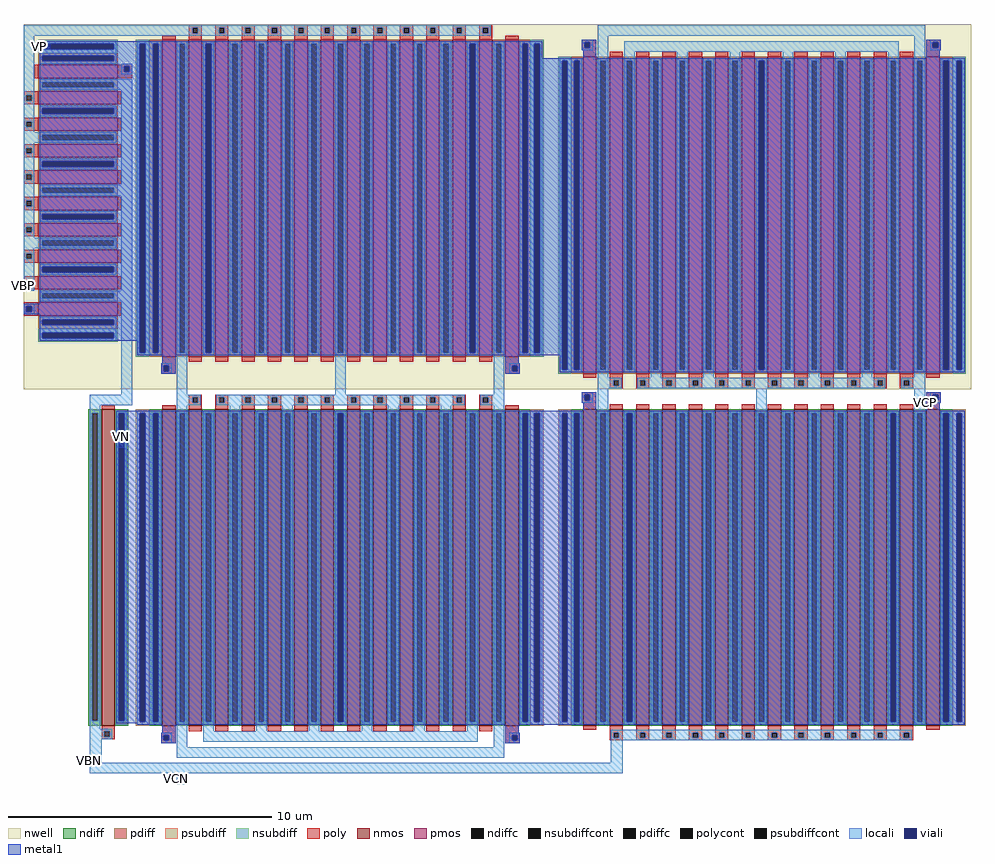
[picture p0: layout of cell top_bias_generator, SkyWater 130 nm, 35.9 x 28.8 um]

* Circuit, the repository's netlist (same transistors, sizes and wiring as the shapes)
* NGSPICE file created from top_bias_generator.ext - technology: sky130A

.subckt bias_generator VP VN VBP VBN VCN VCP
X0 VN VN VCP VN sky130_fd_pr__nfet_01v8 ad=6 pd=25 as=3 ps=12.5 w=12 l=0.5
X1 a_2550_n5150# a_2550_n5150# a_2450_n5110# VN sky130_fd_pr__nfet_01v8 ad=3 pd=12.5 as=3 ps=12.5 w=12 l=0.5
X2 VN VN VCN VN sky130_fd_pr__nfet_01v8 ad=5.4 pd=24.9 as=3 ps=12.5 w=12 l=0.5
X3 a_7040_n5110# VBN a_6840_n5110# VN sky130_fd_pr__nfet_01v8 ad=3 pd=12.5 as=3 ps=12.5 w=12 l=0.5
X4 VBP VBP VP VP sky130_fd_pr__pfet_01v8 ad=0.75 pd=3.5 as=0.75 ps=3.5 w=3 l=0.5
X5 a_5640_n2240# a_5740_n2350# a_5740_n2350# VP sky130_fd_pr__pfet_01v8 ad=3 pd=12.5 as=3 ps=12.5 w=12 l=0.5
X6 a_2450_n5110# a_2550_n5150# a_2550_n5150# VN sky130_fd_pr__nfet_01v8 ad=3 pd=12.5 as=3 ps=12.5 w=12 l=0.5
X7 a_6040_n5110# VBN a_5840_n5110# VN sky130_fd_pr__nfet_01v8 ad=3 pd=12.5 as=3 ps=12.5 w=12 l=0.5
X8 VBP VBP VP VP sky130_fd_pr__pfet_01v8 ad=0.75 pd=3.5 as=0.75 ps=3.5 w=3 l=0.5
X9 a_5640_n2240# VCP VCP VP sky130_fd_pr__pfet_01v8 ad=3 pd=12.5 as=3 ps=12.5 w=12 l=0.5
X10 VP a_5740_n2350# a_5640_n2240# VP sky130_fd_pr__pfet_01v8 ad=3 pd=12.5 as=3 ps=12.5 w=12 l=0.5
X11 a_3650_n2110# VBP a_2550_n5150# VP sky130_fd_pr__pfet_01v8 ad=3 pd=12.5 as=3 ps=12.5 w=12 l=0.5
X12 VCN VBP VP VP sky130_fd_pr__pfet_01v8 ad=3 pd=12.5 as=3 ps=12.5 w=12 l=0.5
X13 a_2650_n2110# VBP VP VP sky130_fd_pr__pfet_01v8 ad=3 pd=12.5 as=3 ps=12.5 w=12 l=0.5
X14 VCN VCN a_2450_n5110# VN sky130_fd_pr__nfet_01v8 ad=3 pd=12.5 as=3 ps=12.5 w=12 l=0.5
X15 VCP VBN VN VN sky130_fd_pr__nfet_01v8 ad=3 pd=12.5 as=3 ps=12.5 w=12 l=0.5
X16 VN VBN VBN VN sky130_fd_pr__nfet_01v8 ad=6 pd=25 as=6 ps=25 w=12 l=0.5
X17 a_2450_n5110# a_2550_n5150# VN VN sky130_fd_pr__nfet_01v8 ad=3 pd=12.5 as=3 ps=12.5 w=12 l=0.5
X18 a_6840_n5110# VBN a_5740_n2350# VN sky130_fd_pr__nfet_01v8 ad=3 pd=12.5 as=3 ps=12.5 w=12 l=0.5
X19 a_5640_n2240# a_5740_n2350# a_5740_n2350# VP sky130_fd_pr__pfet_01v8 ad=3 pd=12.5 as=3 ps=12.5 w=12 l=0.5
X20 a_5740_n2350# a_5740_n2350# a_5640_n2240# VP sky130_fd_pr__pfet_01v8 ad=3 pd=12.5 as=3 ps=12.5 w=12 l=0.5
X21 a_2550_n5150# a_2550_n5150# a_2450_n5110# VN sky130_fd_pr__nfet_01v8 ad=3 pd=12.5 as=3 ps=12.5 w=12 l=0.5
X22 a_5840_n5110# VBN VN VN sky130_fd_pr__nfet_01v8 ad=3 pd=12.5 as=3 ps=12.5 w=12 l=0.5
X23 VBN VBP VP VP sky130_fd_pr__pfet_01v8 ad=0.75 pd=3.5 as=0.75 ps=3.5 w=3 l=0.5
X24 VP VBP a_4250_n2110# VP sky130_fd_pr__pfet_01v8 ad=3 pd=12.5 as=3 ps=12.5 w=12 l=0.5
X25 VCP VP VP VP sky130_fd_pr__pfet_01v8 ad=3 pd=12.5 as=5.4 ps=24.9 w=12 l=0.5
X26 a_2550_n5150# VBP a_3250_n2110# VP sky130_fd_pr__pfet_01v8 ad=3 pd=12.5 as=3 ps=12.5 w=12 l=0.5
X27 VP VBP VCN VP sky130_fd_pr__pfet_01v8 ad=3 pd=12.5 as=3 ps=12.5 w=12 l=0.5
X28 a_2450_n5110# a_2550_n5150# a_2550_n5150# VN sky130_fd_pr__nfet_01v8 ad=3 pd=12.5 as=3 ps=12.5 w=12 l=0.5
X29 VN VBN a_7440_n5110# VN sky130_fd_pr__nfet_01v8 ad=3 pd=12.5 as=3 ps=12.5 w=12 l=0.5
X30 VN a_2550_n5150# a_2450_n5110# VN sky130_fd_pr__nfet_01v8 ad=3 pd=12.5 as=3 ps=12.5 w=12 l=0.5
X31 VN VBN VCP VN sky130_fd_pr__nfet_01v8 ad=3 pd=12.5 as=3 ps=12.5 w=12 l=0.5
X32 a_5740_n2350# VBN a_6440_n5110# VN sky130_fd_pr__nfet_01v8 ad=3 pd=12.5 as=3 ps=12.5 w=12 l=0.5
X33 VP VBP VBN VP sky130_fd_pr__pfet_01v8 ad=0.75 pd=3.5 as=0.75 ps=3.5 w=3 l=0.5
X34 a_5740_n2350# a_5740_n2350# a_5640_n2240# VP sky130_fd_pr__pfet_01v8 ad=3 pd=12.5 as=3 ps=12.5 w=12 l=0.5
X35 a_5640_n2240# a_5740_n2350# a_5740_n2350# VP sky130_fd_pr__pfet_01v8 ad=3 pd=12.5 as=3 ps=12.5 w=12 l=0.5
X36 a_2450_n5110# VCN VCN VN sky130_fd_pr__nfet_01v8 ad=3 pd=12.5 as=3 ps=12.5 w=12 l=0.5
X37 VP VBP VBN VP sky130_fd_pr__pfet_01v8 ad=0.75 pd=3.5 as=0.75 ps=3.5 w=3 l=0.5
X38 a_4250_n2110# VBP a_4050_n2110# VP sky130_fd_pr__pfet_01v8 ad=3 pd=12.5 as=3 ps=12.5 w=12 l=0.5
X39 a_3250_n2110# VBP a_3050_n2110# VP sky130_fd_pr__pfet_01v8 ad=3 pd=12.5 as=3 ps=12.5 w=12 l=0.5
X40 VCN VP VP VP sky130_fd_pr__pfet_01v8 ad=3 pd=12.5 as=6 ps=25 w=12 l=0.5
X41 a_2550_n5150# a_2550_n5150# a_2450_n5110# VN sky130_fd_pr__nfet_01v8 ad=3 pd=12.5 as=3 ps=12.5 w=12 l=0.5
X42 a_7440_n5110# VBN a_7240_n5110# VN sky130_fd_pr__nfet_01v8 ad=3 pd=12.5 as=3 ps=12.5 w=12 l=0.5
X43 VP VP VBN VP sky130_fd_pr__pfet_01v8 ad=1.35 pd=6.9 as=0.75 ps=3.5 w=3 l=0.5
X44 a_2450_n5110# a_2550_n5150# a_2550_n5150# VN sky130_fd_pr__nfet_01v8 ad=3 pd=12.5 as=3 ps=12.5 w=12 l=0.5
X45 VCP VN VN VN sky130_fd_pr__nfet_01v8 ad=3 pd=12.5 as=5.4 ps=24.9 w=12 l=0.5
X46 a_6440_n5110# VBN a_6240_n5110# VN sky130_fd_pr__nfet_01v8 ad=3 pd=12.5 as=3 ps=12.5 w=12 l=0.5
X47 VCN VN VN VN sky130_fd_pr__nfet_01v8 ad=3 pd=12.5 as=6 ps=25 w=12 l=0.5
X48 VP VBP VBP VP sky130_fd_pr__pfet_01v8 ad=0.75 pd=3.5 as=0.75 ps=3.5 w=3 l=0.5
X49 VP VBP VBP VP sky130_fd_pr__pfet_01v8 ad=0.75 pd=3.5 as=0.75 ps=3.5 w=3 l=0.5
X50 VP VP VCP VP sky130_fd_pr__pfet_01v8 ad=6 pd=25 as=3 ps=12.5 w=12 l=0.5
X51 a_5740_n2350# a_5740_n2350# a_5640_n2240# VP sky130_fd_pr__pfet_01v8 ad=3 pd=12.5 as=3 ps=12.5 w=12 l=0.5
X52 a_5640_n2240# a_5740_n2350# a_5740_n2350# VP sky130_fd_pr__pfet_01v8 ad=3 pd=12.5 as=3 ps=12.5 w=12 l=0.5
X53 a_6240_n5110# VBN a_6040_n5110# VN sky130_fd_pr__nfet_01v8 ad=3 pd=12.5 as=3 ps=12.5 w=12 l=0.5
X54 a_7240_n5110# VBN a_7040_n5110# VN sky130_fd_pr__nfet_01v8 ad=3 pd=12.5 as=3 ps=12.5 w=12 l=0.5
X55 a_3050_n2110# VBP a_2850_n2110# VP sky130_fd_pr__pfet_01v8 ad=3 pd=12.5 as=3 ps=12.5 w=12 l=0.5
X56 a_4050_n2110# VBP a_3850_n2110# VP sky130_fd_pr__pfet_01v8 ad=3 pd=12.5 as=3 ps=12.5 w=12 l=0.5
X57 VBN VBP VP VP sky130_fd_pr__pfet_01v8 ad=0.75 pd=3.5 as=0.75 ps=3.5 w=3 l=0.5
X58 VBN VP VP VP sky130_fd_pr__pfet_01v8 ad=0.75 pd=3.5 as=1.5 ps=7 w=3 l=0.5
X59 VCP VCP a_5640_n2240# VP sky130_fd_pr__pfet_01v8 ad=3 pd=12.5 as=3 ps=12.5 w=12 l=0.5
X60 a_2550_n5150# a_2550_n5150# a_2450_n5110# VN sky130_fd_pr__nfet_01v8 ad=3 pd=12.5 as=3 ps=12.5 w=12 l=0.5
X61 a_2450_n5110# a_2550_n5150# a_2550_n5150# VN sky130_fd_pr__nfet_01v8 ad=3 pd=12.5 as=3 ps=12.5 w=12 l=0.5
X62 a_5640_n2240# a_5740_n2350# VP VP sky130_fd_pr__pfet_01v8 ad=3 pd=12.5 as=3 ps=12.5 w=12 l=0.5
X63 VP VP VCN VP sky130_fd_pr__pfet_01v8 ad=5.4 pd=24.9 as=3 ps=12.5 w=12 l=0.5
X64 a_5740_n2350# a_5740_n2350# a_5640_n2240# VP sky130_fd_pr__pfet_01v8 ad=3 pd=12.5 as=3 ps=12.5 w=12 l=0.5
X65 a_2850_n2110# VBP a_2650_n2110# VP sky130_fd_pr__pfet_01v8 ad=3 pd=12.5 as=3 ps=12.5 w=12 l=0.5
X66 a_3850_n2110# VBP a_3650_n2110# VP sky130_fd_pr__pfet_01v8 ad=3 pd=12.5 as=3 ps=12.5 w=12 l=0.5
.ends


* Top level circuit top_bias_generator

Xbias_generator_0 VP VN VBP VBN VCN VCP bias_generator
.end

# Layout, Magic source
magic
tech sky130A
<< locali >>
rect -5 1870 35 1910
rect 3370 1425 3410 1465
rect 245 70 285 110
rect 575 0 615 40
<< metal1 >>
rect 55 2775 95 2815
rect 345 1275 385 1315
use bias_generator  bias_generator_0
transform 1 0 -555 0 1 2675
box 550 -2735 4140 205
<< labels >>
rlabel locali 245 90 245 90 7 VBN
rlabel locali 575 20 575 20 7 VCN
rlabel metal1 365 1315 365 1315 1 VN
rlabel locali -5 1890 -5 1890 7 VBP
rlabel metal1 55 2795 55 2795 7 VP
rlabel locali 3410 1445 3410 1445 3 VCP
<< end >>

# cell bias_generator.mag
magic
tech sky130A
<< nwell >>
rect 550 -1180 4140 205
<< nmos >>
rect 845 -2455 895 -1255
rect 1075 -2455 1125 -1255
rect 1175 -2455 1225 -1255
rect 1275 -2455 1325 -1255
rect 1375 -2455 1425 -1255
rect 1475 -2455 1525 -1255
rect 1575 -2455 1625 -1255
rect 1675 -2455 1725 -1255
rect 1775 -2455 1825 -1255
rect 1875 -2455 1925 -1255
rect 1975 -2455 2025 -1255
rect 2075 -2455 2125 -1255
rect 2175 -2455 2225 -1255
rect 2275 -2455 2325 -1255
rect 2375 -2455 2425 -1255
rect 2670 -2455 2720 -1255
rect 2770 -2455 2820 -1255
rect 2870 -2455 2920 -1255
rect 2970 -2455 3020 -1255
rect 3070 -2455 3120 -1255
rect 3170 -2455 3220 -1255
rect 3270 -2455 3320 -1255
rect 3370 -2455 3420 -1255
rect 3470 -2455 3520 -1255
rect 3570 -2455 3620 -1255
rect 3670 -2455 3720 -1255
rect 3770 -2455 3820 -1255
rect 3870 -2455 3920 -1255
rect 3970 -2455 4020 -1255
<< pmos >>
rect 605 0 905 50
rect 605 -100 905 -50
rect 605 -200 905 -150
rect 605 -300 905 -250
rect 605 -400 905 -350
rect 605 -500 905 -450
rect 605 -600 905 -550
rect 605 -700 905 -650
rect 605 -800 905 -750
rect 605 -900 905 -850
rect 1075 -1055 1125 145
rect 1175 -1055 1225 145
rect 1275 -1055 1325 145
rect 1375 -1055 1425 145
rect 1475 -1055 1525 145
rect 1575 -1055 1625 145
rect 1675 -1055 1725 145
rect 1775 -1055 1825 145
rect 1875 -1055 1925 145
rect 1975 -1055 2025 145
rect 2075 -1055 2125 145
rect 2175 -1055 2225 145
rect 2275 -1055 2325 145
rect 2375 -1055 2425 145
rect 2670 -1120 2720 80
rect 2770 -1120 2820 80
rect 2870 -1120 2920 80
rect 2970 -1120 3020 80
rect 3070 -1120 3120 80
rect 3170 -1120 3220 80
rect 3270 -1120 3320 80
rect 3370 -1120 3420 80
rect 3470 -1120 3520 80
rect 3570 -1120 3620 80
rect 3670 -1120 3720 80
rect 3770 -1120 3820 80
rect 3870 -1120 3920 80
rect 3970 -1120 4020 80
<< ndiff >>
rect 795 -1270 845 -1255
rect 795 -2435 810 -1270
rect 830 -2435 845 -1270
rect 795 -2455 845 -2435
rect 895 -1270 945 -1255
rect 895 -2435 910 -1270
rect 930 -2435 945 -1270
rect 895 -2455 945 -2435
rect 1025 -1270 1075 -1255
rect 1025 -2440 1040 -1270
rect 1060 -2440 1075 -1270
rect 1025 -2455 1075 -2440
rect 1125 -1270 1175 -1255
rect 1125 -2440 1140 -1270
rect 1160 -2440 1175 -1270
rect 1125 -2455 1175 -2440
rect 1225 -1270 1275 -1255
rect 1225 -2440 1240 -1270
rect 1260 -2440 1275 -1270
rect 1225 -2455 1275 -2440
rect 1325 -1270 1375 -1255
rect 1325 -2440 1340 -1270
rect 1360 -2440 1375 -1270
rect 1325 -2455 1375 -2440
rect 1425 -1270 1475 -1255
rect 1425 -2440 1440 -1270
rect 1460 -2440 1475 -1270
rect 1425 -2455 1475 -2440
rect 1525 -1270 1575 -1255
rect 1525 -2440 1540 -1270
rect 1560 -2440 1575 -1270
rect 1525 -2455 1575 -2440
rect 1625 -1270 1675 -1255
rect 1625 -2440 1640 -1270
rect 1660 -2440 1675 -1270
rect 1625 -2455 1675 -2440
rect 1725 -1270 1775 -1255
rect 1725 -2440 1740 -1270
rect 1760 -2440 1775 -1270
rect 1725 -2455 1775 -2440
rect 1825 -1270 1875 -1255
rect 1825 -2440 1840 -1270
rect 1860 -2440 1875 -1270
rect 1825 -2455 1875 -2440
rect 1925 -1270 1975 -1255
rect 1925 -2440 1940 -1270
rect 1960 -2440 1975 -1270
rect 1925 -2455 1975 -2440
rect 2025 -1270 2075 -1255
rect 2025 -2440 2040 -1270
rect 2060 -2440 2075 -1270
rect 2025 -2455 2075 -2440
rect 2125 -1270 2175 -1255
rect 2125 -2440 2140 -1270
rect 2160 -2440 2175 -1270
rect 2125 -2455 2175 -2440
rect 2225 -1270 2275 -1255
rect 2225 -2440 2240 -1270
rect 2260 -2440 2275 -1270
rect 2225 -2455 2275 -2440
rect 2325 -1270 2375 -1255
rect 2325 -2440 2340 -1270
rect 2360 -2440 2375 -1270
rect 2325 -2455 2375 -2440
rect 2425 -1270 2470 -1255
rect 2425 -2440 2440 -1270
rect 2460 -2440 2470 -1270
rect 2425 -2455 2470 -2440
rect 2625 -1270 2670 -1255
rect 2625 -2440 2635 -1270
rect 2655 -2440 2670 -1270
rect 2625 -2455 2670 -2440
rect 2720 -1270 2770 -1255
rect 2720 -2440 2735 -1270
rect 2755 -2440 2770 -1270
rect 2720 -2455 2770 -2440
rect 2820 -1270 2870 -1255
rect 2820 -2440 2835 -1270
rect 2855 -2440 2870 -1270
rect 2820 -2455 2870 -2440
rect 2920 -1270 2970 -1255
rect 2920 -2440 2935 -1270
rect 2955 -2440 2970 -1270
rect 2920 -2455 2970 -2440
rect 3020 -1270 3070 -1255
rect 3020 -2440 3035 -1270
rect 3055 -2440 3070 -1270
rect 3020 -2455 3070 -2440
rect 3120 -1270 3170 -1255
rect 3120 -2440 3135 -1270
rect 3155 -2440 3170 -1270
rect 3120 -2455 3170 -2440
rect 3220 -1270 3270 -1255
rect 3220 -2440 3235 -1270
rect 3255 -2440 3270 -1270
rect 3220 -2455 3270 -2440
rect 3320 -1270 3370 -1255
rect 3320 -2440 3335 -1270
rect 3355 -2440 3370 -1270
rect 3320 -2455 3370 -2440
rect 3420 -1270 3470 -1255
rect 3420 -2440 3435 -1270
rect 3455 -2440 3470 -1270
rect 3420 -2455 3470 -2440
rect 3520 -1270 3570 -1255
rect 3520 -2440 3535 -1270
rect 3555 -2440 3570 -1270
rect 3520 -2455 3570 -2440
rect 3620 -1270 3670 -1255
rect 3620 -2440 3635 -1270
rect 3655 -2440 3670 -1270
rect 3620 -2455 3670 -2440
rect 3720 -1270 3770 -1255
rect 3720 -2440 3735 -1270
rect 3755 -2440 3770 -1270
rect 3720 -2455 3770 -2440
rect 3820 -1270 3870 -1255
rect 3820 -2440 3835 -1270
rect 3855 -2440 3870 -1270
rect 3820 -2455 3870 -2440
rect 3920 -1270 3970 -1255
rect 3920 -2440 3935 -1270
rect 3955 -2440 3970 -1270
rect 3920 -2455 3970 -2440
rect 4020 -1270 4070 -1255
rect 4020 -2440 4035 -1270
rect 4055 -2440 4070 -1270
rect 4020 -2455 4070 -2440
<< pdiff >>
rect 605 85 905 95
rect 605 65 620 85
rect 890 65 905 85
rect 605 50 905 65
rect 1025 130 1075 145
rect 605 -15 905 0
rect 605 -35 620 -15
rect 890 -35 905 -15
rect 605 -50 905 -35
rect 605 -115 905 -100
rect 605 -135 620 -115
rect 890 -135 905 -115
rect 605 -150 905 -135
rect 605 -215 905 -200
rect 605 -235 620 -215
rect 890 -235 905 -215
rect 605 -250 905 -235
rect 605 -315 905 -300
rect 605 -335 620 -315
rect 890 -335 905 -315
rect 605 -350 905 -335
rect 605 -415 905 -400
rect 605 -435 620 -415
rect 890 -435 905 -415
rect 605 -450 905 -435
rect 605 -515 905 -500
rect 605 -535 620 -515
rect 890 -535 905 -515
rect 605 -550 905 -535
rect 605 -615 905 -600
rect 605 -635 620 -615
rect 890 -635 905 -615
rect 605 -650 905 -635
rect 605 -715 905 -700
rect 605 -735 620 -715
rect 890 -735 905 -715
rect 605 -750 905 -735
rect 605 -815 905 -800
rect 605 -835 620 -815
rect 890 -835 905 -815
rect 605 -850 905 -835
rect 605 -915 905 -900
rect 605 -935 620 -915
rect 890 -935 905 -915
rect 605 -950 905 -935
rect 1025 -1040 1040 130
rect 1060 -1040 1075 130
rect 1025 -1055 1075 -1040
rect 1125 130 1175 145
rect 1125 -1040 1140 130
rect 1160 -1040 1175 130
rect 1125 -1055 1175 -1040
rect 1225 130 1275 145
rect 1225 -1040 1240 130
rect 1260 -1040 1275 130
rect 1225 -1055 1275 -1040
rect 1325 130 1375 145
rect 1325 -1040 1340 130
rect 1360 -1040 1375 130
rect 1325 -1055 1375 -1040
rect 1425 130 1475 145
rect 1425 -1040 1440 130
rect 1460 -1040 1475 130
rect 1425 -1055 1475 -1040
rect 1525 130 1575 145
rect 1525 -1040 1540 130
rect 1560 -1040 1575 130
rect 1525 -1055 1575 -1040
rect 1625 130 1675 145
rect 1625 -1040 1640 130
rect 1660 -1040 1675 130
rect 1625 -1055 1675 -1040
rect 1725 130 1775 145
rect 1725 -1040 1740 130
rect 1760 -1040 1775 130
rect 1725 -1055 1775 -1040
rect 1825 130 1875 145
rect 1825 -1040 1840 130
rect 1860 -1040 1875 130
rect 1825 -1055 1875 -1040
rect 1925 130 1975 145
rect 1925 -1040 1940 130
rect 1960 -1040 1975 130
rect 1925 -1055 1975 -1040
rect 2025 130 2075 145
rect 2025 -1040 2040 130
rect 2060 -1040 2075 130
rect 2025 -1055 2075 -1040
rect 2125 130 2175 145
rect 2125 -1040 2140 130
rect 2160 -1040 2175 130
rect 2125 -1055 2175 -1040
rect 2225 130 2275 145
rect 2225 -1040 2240 130
rect 2260 -1040 2275 130
rect 2225 -1055 2275 -1040
rect 2325 130 2375 145
rect 2325 -1040 2340 130
rect 2360 -1040 2375 130
rect 2325 -1055 2375 -1040
rect 2425 130 2470 145
rect 2425 -1040 2440 130
rect 2460 -1040 2470 130
rect 2425 -1055 2470 -1040
rect 2625 65 2670 80
rect 2625 -1105 2635 65
rect 2655 -1105 2670 65
rect 2625 -1120 2670 -1105
rect 2720 65 2770 80
rect 2720 -1105 2735 65
rect 2755 -1105 2770 65
rect 2720 -1120 2770 -1105
rect 2820 65 2870 80
rect 2820 -1105 2835 65
rect 2855 -1105 2870 65
rect 2820 -1120 2870 -1105
rect 2920 65 2970 80
rect 2920 -1105 2935 65
rect 2955 -1105 2970 65
rect 2920 -1120 2970 -1105
rect 3020 65 3070 80
rect 3020 -1105 3035 65
rect 3055 -1105 3070 65
rect 3020 -1120 3070 -1105
rect 3120 65 3170 80
rect 3120 -1105 3135 65
rect 3155 -1105 3170 65
rect 3120 -1120 3170 -1105
rect 3220 65 3270 80
rect 3220 -1105 3235 65
rect 3255 -1105 3270 65
rect 3220 -1120 3270 -1105
rect 3320 65 3370 80
rect 3320 -1105 3335 65
rect 3355 -1105 3370 65
rect 3320 -1120 3370 -1105
rect 3420 65 3470 80
rect 3420 -1105 3435 65
rect 3455 -1105 3470 65
rect 3420 -1120 3470 -1105
rect 3520 65 3570 80
rect 3520 -1105 3535 65
rect 3555 -1105 3570 65
rect 3520 -1120 3570 -1105
rect 3620 65 3670 80
rect 3620 -1105 3635 65
rect 3655 -1105 3670 65
rect 3620 -1120 3670 -1105
rect 3720 65 3770 80
rect 3720 -1105 3735 65
rect 3755 -1105 3770 65
rect 3720 -1120 3770 -1105
rect 3820 65 3870 80
rect 3820 -1105 3835 65
rect 3855 -1105 3870 65
rect 3820 -1120 3870 -1105
rect 3920 65 3970 80
rect 3920 -1105 3935 65
rect 3955 -1105 3970 65
rect 3920 -1120 3970 -1105
rect 4020 65 4070 80
rect 4020 -1105 4035 65
rect 4055 -1105 4070 65
rect 4020 -1120 4070 -1105
<< ndiffc >>
rect 810 -2435 830 -1270
rect 910 -2435 930 -1270
rect 1040 -2440 1060 -1270
rect 1140 -2440 1160 -1270
rect 1240 -2440 1260 -1270
rect 1340 -2440 1360 -1270
rect 1440 -2440 1460 -1270
rect 1540 -2440 1560 -1270
rect 1640 -2440 1660 -1270
rect 1740 -2440 1760 -1270
rect 1840 -2440 1860 -1270
rect 1940 -2440 1960 -1270
rect 2040 -2440 2060 -1270
rect 2140 -2440 2160 -1270
rect 2240 -2440 2260 -1270
rect 2340 -2440 2360 -1270
rect 2440 -2440 2460 -1270
rect 2635 -2440 2655 -1270
rect 2735 -2440 2755 -1270
rect 2835 -2440 2855 -1270
rect 2935 -2440 2955 -1270
rect 3035 -2440 3055 -1270
rect 3135 -2440 3155 -1270
rect 3235 -2440 3255 -1270
rect 3335 -2440 3355 -1270
rect 3435 -2440 3455 -1270
rect 3535 -2440 3555 -1270
rect 3635 -2440 3655 -1270
rect 3735 -2440 3755 -1270
rect 3835 -2440 3855 -1270
rect 3935 -2440 3955 -1270
rect 4035 -2440 4055 -1270
<< pdiffc >>
rect 620 65 890 85
rect 620 -35 890 -15
rect 620 -135 890 -115
rect 620 -235 890 -215
rect 620 -335 890 -315
rect 620 -435 890 -415
rect 620 -535 890 -515
rect 620 -635 890 -615
rect 620 -735 890 -715
rect 620 -835 890 -815
rect 620 -935 890 -915
rect 1040 -1040 1060 130
rect 1140 -1040 1160 130
rect 1240 -1040 1260 130
rect 1340 -1040 1360 130
rect 1440 -1040 1460 130
rect 1540 -1040 1560 130
rect 1640 -1040 1660 130
rect 1740 -1040 1760 130
rect 1840 -1040 1860 130
rect 1940 -1040 1960 130
rect 2040 -1040 2060 130
rect 2140 -1040 2160 130
rect 2240 -1040 2260 130
rect 2340 -1040 2360 130
rect 2440 -1040 2460 130
rect 2635 -1105 2655 65
rect 2735 -1105 2755 65
rect 2835 -1105 2855 65
rect 2935 -1105 2955 65
rect 3035 -1105 3055 65
rect 3135 -1105 3155 65
rect 3235 -1105 3255 65
rect 3335 -1105 3355 65
rect 3435 -1105 3455 65
rect 3535 -1105 3555 65
rect 3635 -1105 3655 65
rect 3735 -1105 3755 65
rect 3835 -1105 3855 65
rect 3935 -1105 3955 65
rect 4035 -1105 4055 65
<< psubdiff >>
rect 975 -1270 1025 -1255
rect 975 -2440 990 -1270
rect 1010 -2440 1025 -1270
rect 975 -2455 1025 -2440
rect 2470 -1270 2520 -1255
rect 2470 -2440 2485 -1270
rect 2505 -2440 2520 -1270
rect 2470 -2455 2520 -2440
rect 2575 -1270 2625 -1255
rect 2575 -2440 2590 -1270
rect 2610 -2440 2625 -1270
rect 2575 -2455 2625 -2440
rect 4070 -1270 4120 -1255
rect 4070 -2440 4085 -1270
rect 4105 -2440 4120 -1270
rect 4070 -2455 4120 -2440
<< nsubdiff >>
rect 605 130 905 145
rect 605 110 620 130
rect 890 110 905 130
rect 605 95 905 110
rect 975 130 1025 145
rect 605 -965 905 -950
rect 605 -985 620 -965
rect 890 -985 905 -965
rect 605 -1000 905 -985
rect 975 -1040 990 130
rect 1010 -1040 1025 130
rect 975 -1055 1025 -1040
rect 2470 130 2520 145
rect 2470 -1040 2485 130
rect 2505 -1040 2520 130
rect 2470 -1055 2520 -1040
rect 2575 65 2625 80
rect 2575 -1105 2590 65
rect 2610 -1105 2625 65
rect 2575 -1120 2625 -1105
rect 4070 65 4120 80
rect 4070 -1105 4085 65
rect 4105 -1105 4120 65
rect 4070 -1120 4120 -1105
<< psubdiffcont >>
rect 990 -2440 1010 -1270
rect 2485 -2440 2505 -1270
rect 2590 -2440 2610 -1270
rect 4085 -2440 4105 -1270
<< nsubdiffcont >>
rect 620 110 890 130
rect 620 -985 890 -965
rect 990 -1040 1010 130
rect 2485 -1040 2505 130
rect 2590 -1105 2610 65
rect 4085 -1105 4105 65
<< poly >>
rect 1175 190 1225 200
rect 1175 170 1190 190
rect 1210 170 1225 190
rect 1075 145 1125 160
rect 1175 145 1225 170
rect 1275 190 1325 200
rect 1275 170 1290 190
rect 1310 170 1325 190
rect 1275 145 1325 170
rect 1375 190 1425 200
rect 1375 170 1390 190
rect 1410 170 1425 190
rect 1375 145 1425 170
rect 1475 190 1525 200
rect 1475 170 1490 190
rect 1510 170 1525 190
rect 1475 145 1525 170
rect 1575 190 1625 200
rect 1575 170 1590 190
rect 1610 170 1625 190
rect 1575 145 1625 170
rect 1675 190 1725 200
rect 1675 170 1690 190
rect 1710 170 1725 190
rect 1675 145 1725 170
rect 1775 190 1825 200
rect 1775 170 1790 190
rect 1810 170 1825 190
rect 1775 145 1825 170
rect 1875 190 1925 200
rect 1875 170 1890 190
rect 1910 170 1925 190
rect 1875 145 1925 170
rect 1975 190 2025 200
rect 1975 170 1990 190
rect 2010 170 2025 190
rect 1975 145 2025 170
rect 2075 190 2125 200
rect 2075 170 2090 190
rect 2110 170 2125 190
rect 2075 145 2125 170
rect 2175 190 2225 200
rect 2175 170 2190 190
rect 2210 170 2225 190
rect 2175 145 2225 170
rect 2275 190 2325 200
rect 2275 170 2290 190
rect 2310 170 2325 190
rect 2275 145 2325 170
rect 2375 145 2425 160
rect 920 50 960 55
rect 590 0 605 50
rect 905 45 960 50
rect 905 25 930 45
rect 950 25 960 45
rect 905 0 960 25
rect 550 -65 605 -50
rect 550 -85 560 -65
rect 580 -85 605 -65
rect 550 -100 605 -85
rect 905 -100 920 -50
rect 550 -165 605 -150
rect 550 -185 560 -165
rect 580 -185 605 -165
rect 550 -200 605 -185
rect 905 -200 920 -150
rect 550 -265 605 -250
rect 550 -285 560 -265
rect 580 -285 605 -265
rect 550 -300 605 -285
rect 905 -300 920 -250
rect 550 -365 605 -350
rect 550 -385 560 -365
rect 580 -385 605 -365
rect 550 -400 605 -385
rect 905 -400 920 -350
rect 550 -465 605 -450
rect 550 -485 560 -465
rect 580 -485 605 -465
rect 550 -500 605 -485
rect 905 -500 920 -450
rect 550 -565 605 -550
rect 550 -585 560 -565
rect 580 -585 605 -565
rect 550 -600 605 -585
rect 905 -600 920 -550
rect 550 -665 605 -650
rect 550 -685 560 -665
rect 580 -685 605 -665
rect 550 -700 605 -685
rect 905 -700 920 -650
rect 550 -775 605 -750
rect 550 -795 560 -775
rect 580 -795 605 -775
rect 550 -800 605 -795
rect 905 -800 920 -750
rect 550 -805 590 -800
rect 550 -865 605 -850
rect 550 -885 560 -865
rect 580 -885 605 -865
rect 550 -900 605 -885
rect 905 -900 920 -850
rect 2665 135 2720 145
rect 2665 115 2675 135
rect 2695 115 2720 135
rect 2665 105 2720 115
rect 2670 80 2720 105
rect 3970 135 4025 145
rect 3970 115 3995 135
rect 4015 115 4025 135
rect 3970 105 4025 115
rect 2770 80 2820 100
rect 2870 80 2920 100
rect 2970 80 3020 100
rect 3070 80 3120 100
rect 3170 80 3220 100
rect 3270 80 3320 100
rect 3370 80 3420 100
rect 3470 80 3520 100
rect 3570 80 3620 100
rect 3670 80 3720 100
rect 3770 80 3820 100
rect 3870 80 3920 100
rect 3970 80 4020 105
rect 1075 -1080 1125 -1055
rect 1175 -1075 1225 -1055
rect 1275 -1075 1325 -1055
rect 1375 -1075 1425 -1055
rect 1475 -1075 1525 -1055
rect 1575 -1075 1625 -1055
rect 1675 -1075 1725 -1055
rect 1775 -1075 1825 -1055
rect 1875 -1075 1925 -1055
rect 1975 -1075 2025 -1055
rect 2075 -1075 2125 -1055
rect 2175 -1075 2225 -1055
rect 2275 -1075 2325 -1055
rect 1070 -1090 1125 -1080
rect 1070 -1110 1080 -1090
rect 1100 -1110 1125 -1090
rect 1070 -1120 1125 -1110
rect 2375 -1080 2425 -1055
rect 2375 -1090 2430 -1080
rect 2375 -1110 2400 -1090
rect 2420 -1110 2430 -1090
rect 2375 -1120 2430 -1110
rect 2670 -1135 2720 -1120
rect 2770 -1145 2820 -1120
rect 2770 -1165 2785 -1145
rect 2805 -1165 2820 -1145
rect 2770 -1175 2820 -1165
rect 2870 -1145 2920 -1120
rect 2870 -1165 2885 -1145
rect 2905 -1165 2920 -1145
rect 2870 -1175 2920 -1165
rect 2970 -1145 3020 -1120
rect 2970 -1165 2985 -1145
rect 3005 -1165 3020 -1145
rect 2970 -1175 3020 -1165
rect 3070 -1145 3120 -1120
rect 3070 -1165 3085 -1145
rect 3105 -1165 3120 -1145
rect 3070 -1175 3120 -1165
rect 3170 -1145 3220 -1120
rect 3170 -1165 3185 -1145
rect 3205 -1165 3220 -1145
rect 3170 -1175 3220 -1165
rect 3270 -1145 3320 -1120
rect 3270 -1165 3285 -1145
rect 3305 -1165 3320 -1145
rect 3270 -1175 3320 -1165
rect 3370 -1145 3420 -1120
rect 3370 -1165 3385 -1145
rect 3405 -1165 3420 -1145
rect 3370 -1175 3420 -1165
rect 3470 -1145 3520 -1120
rect 3470 -1165 3485 -1145
rect 3505 -1165 3520 -1145
rect 3470 -1175 3520 -1165
rect 3570 -1145 3620 -1120
rect 3570 -1165 3585 -1145
rect 3605 -1165 3620 -1145
rect 3570 -1175 3620 -1165
rect 3670 -1145 3720 -1120
rect 3670 -1165 3685 -1145
rect 3705 -1165 3720 -1145
rect 3670 -1175 3720 -1165
rect 3770 -1145 3820 -1120
rect 3770 -1165 3785 -1145
rect 3805 -1165 3820 -1145
rect 3770 -1175 3820 -1165
rect 3870 -1145 3920 -1120
rect 3970 -1135 4020 -1120
rect 3870 -1165 3885 -1145
rect 3905 -1165 3920 -1145
rect 3870 -1175 3920 -1165
rect 2665 -1200 2720 -1190
rect 1175 -1210 1225 -1200
rect 1175 -1230 1190 -1210
rect 1210 -1230 1225 -1210
rect 845 -1255 895 -1240
rect 1075 -1255 1125 -1240
rect 1175 -1255 1225 -1230
rect 1275 -1210 1325 -1200
rect 1275 -1230 1290 -1210
rect 1310 -1230 1325 -1210
rect 1275 -1255 1325 -1230
rect 1375 -1210 1425 -1200
rect 1375 -1230 1390 -1210
rect 1410 -1230 1425 -1210
rect 1375 -1255 1425 -1230
rect 1475 -1210 1525 -1200
rect 1475 -1230 1490 -1210
rect 1510 -1230 1525 -1210
rect 1475 -1255 1525 -1230
rect 1575 -1210 1625 -1200
rect 1575 -1230 1590 -1210
rect 1610 -1230 1625 -1210
rect 1575 -1255 1625 -1230
rect 1675 -1210 1725 -1200
rect 1675 -1230 1690 -1210
rect 1710 -1230 1725 -1210
rect 1675 -1255 1725 -1230
rect 1775 -1210 1825 -1200
rect 1775 -1230 1790 -1210
rect 1810 -1230 1825 -1210
rect 1775 -1255 1825 -1230
rect 1875 -1210 1925 -1200
rect 1875 -1230 1890 -1210
rect 1910 -1230 1925 -1210
rect 1875 -1255 1925 -1230
rect 1975 -1210 2025 -1200
rect 1975 -1230 1990 -1210
rect 2010 -1230 2025 -1210
rect 1975 -1255 2025 -1230
rect 2075 -1210 2125 -1200
rect 2075 -1230 2090 -1210
rect 2110 -1230 2125 -1210
rect 2075 -1255 2125 -1230
rect 2175 -1210 2225 -1200
rect 2175 -1230 2190 -1210
rect 2210 -1230 2225 -1210
rect 2175 -1255 2225 -1230
rect 2275 -1210 2325 -1200
rect 2275 -1230 2290 -1210
rect 2310 -1230 2325 -1210
rect 2665 -1220 2675 -1200
rect 2695 -1220 2720 -1200
rect 2665 -1230 2720 -1220
rect 2275 -1255 2325 -1230
rect 2375 -1255 2425 -1240
rect 2670 -1255 2720 -1230
rect 3970 -1200 4025 -1190
rect 3970 -1220 3995 -1200
rect 4015 -1220 4025 -1200
rect 3970 -1230 4025 -1220
rect 2770 -1255 2820 -1235
rect 2870 -1255 2920 -1235
rect 2970 -1255 3020 -1235
rect 3070 -1255 3120 -1235
rect 3170 -1255 3220 -1235
rect 3270 -1255 3320 -1235
rect 3370 -1255 3420 -1235
rect 3470 -1255 3520 -1235
rect 3570 -1255 3620 -1235
rect 3670 -1255 3720 -1235
rect 3770 -1255 3820 -1235
rect 3870 -1255 3920 -1235
rect 3970 -1255 4020 -1230
rect 845 -2475 895 -2455
rect 845 -2495 855 -2475
rect 875 -2495 895 -2475
rect 1075 -2480 1125 -2455
rect 1175 -2475 1225 -2455
rect 1275 -2475 1325 -2455
rect 1375 -2475 1425 -2455
rect 1475 -2475 1525 -2455
rect 1575 -2475 1625 -2455
rect 1675 -2475 1725 -2455
rect 1775 -2475 1825 -2455
rect 1875 -2475 1925 -2455
rect 1975 -2475 2025 -2455
rect 2075 -2475 2125 -2455
rect 2175 -2475 2225 -2455
rect 2275 -2475 2325 -2455
rect 845 -2505 895 -2495
rect 1070 -2490 1125 -2480
rect 1070 -2510 1080 -2490
rect 1100 -2510 1125 -2490
rect 1070 -2520 1125 -2510
rect 2375 -2480 2425 -2455
rect 2670 -2470 2720 -2455
rect 2770 -2480 2820 -2455
rect 2375 -2490 2430 -2480
rect 2375 -2510 2400 -2490
rect 2420 -2510 2430 -2490
rect 2770 -2500 2785 -2480
rect 2805 -2500 2820 -2480
rect 2770 -2510 2820 -2500
rect 2870 -2480 2920 -2455
rect 2870 -2500 2885 -2480
rect 2905 -2500 2920 -2480
rect 2870 -2510 2920 -2500
rect 2970 -2480 3020 -2455
rect 2970 -2500 2985 -2480
rect 3005 -2500 3020 -2480
rect 2970 -2510 3020 -2500
rect 3070 -2480 3120 -2455
rect 3070 -2500 3085 -2480
rect 3105 -2500 3120 -2480
rect 3070 -2510 3120 -2500
rect 3170 -2480 3220 -2455
rect 3170 -2500 3185 -2480
rect 3205 -2500 3220 -2480
rect 3170 -2510 3220 -2500
rect 3270 -2480 3320 -2455
rect 3270 -2500 3285 -2480
rect 3305 -2500 3320 -2480
rect 3270 -2510 3320 -2500
rect 3370 -2480 3420 -2455
rect 3370 -2500 3385 -2480
rect 3405 -2500 3420 -2480
rect 3370 -2510 3420 -2500
rect 3470 -2480 3520 -2455
rect 3470 -2500 3485 -2480
rect 3505 -2500 3520 -2480
rect 3470 -2510 3520 -2500
rect 3570 -2480 3620 -2455
rect 3570 -2500 3585 -2480
rect 3605 -2500 3620 -2480
rect 3570 -2510 3620 -2500
rect 3670 -2480 3720 -2455
rect 3670 -2500 3685 -2480
rect 3705 -2500 3720 -2480
rect 3670 -2510 3720 -2500
rect 3770 -2480 3820 -2455
rect 3770 -2500 3785 -2480
rect 3805 -2500 3820 -2480
rect 3770 -2510 3820 -2500
rect 3870 -2480 3920 -2455
rect 3970 -2470 4020 -2455
rect 3870 -2500 3885 -2480
rect 3905 -2500 3920 -2480
rect 3870 -2510 3920 -2500
rect 2375 -2520 2430 -2510
<< polycont >>
rect 1190 170 1210 190
rect 1290 170 1310 190
rect 1390 170 1410 190
rect 1490 170 1510 190
rect 1590 170 1610 190
rect 1690 170 1710 190
rect 1790 170 1810 190
rect 1890 170 1910 190
rect 1990 170 2010 190
rect 2090 170 2110 190
rect 2190 170 2210 190
rect 2290 170 2310 190
rect 930 25 950 45
rect 560 -85 580 -65
rect 560 -185 580 -165
rect 560 -285 580 -265
rect 560 -385 580 -365
rect 560 -485 580 -465
rect 560 -585 580 -565
rect 560 -685 580 -665
rect 560 -795 580 -775
rect 560 -885 580 -865
rect 2675 115 2695 135
rect 3995 115 4015 135
rect 1080 -1110 1100 -1090
rect 2400 -1110 2420 -1090
rect 2785 -1165 2805 -1145
rect 2885 -1165 2905 -1145
rect 2985 -1165 3005 -1145
rect 3085 -1165 3105 -1145
rect 3185 -1165 3205 -1145
rect 3285 -1165 3305 -1145
rect 3385 -1165 3405 -1145
rect 3485 -1165 3505 -1145
rect 3585 -1165 3605 -1145
rect 3685 -1165 3705 -1145
rect 3785 -1165 3805 -1145
rect 3885 -1165 3905 -1145
rect 1190 -1230 1210 -1210
rect 1290 -1230 1310 -1210
rect 1390 -1230 1410 -1210
rect 1490 -1230 1510 -1210
rect 1590 -1230 1610 -1210
rect 1690 -1230 1710 -1210
rect 1790 -1230 1810 -1210
rect 1890 -1230 1910 -1210
rect 1990 -1230 2010 -1210
rect 2090 -1230 2110 -1210
rect 2190 -1230 2210 -1210
rect 2290 -1230 2310 -1210
rect 2675 -1220 2695 -1200
rect 3995 -1220 4015 -1200
rect 855 -2495 875 -2475
rect 1080 -2510 1100 -2490
rect 2400 -2510 2420 -2490
rect 2785 -2500 2805 -2480
rect 2885 -2500 2905 -2480
rect 2985 -2500 3005 -2480
rect 3085 -2500 3105 -2480
rect 3185 -2500 3205 -2480
rect 3285 -2500 3305 -2480
rect 3385 -2500 3405 -2480
rect 3485 -2500 3505 -2480
rect 3585 -2500 3605 -2480
rect 3685 -2500 3705 -2480
rect 3785 -2500 3805 -2480
rect 3885 -2500 3905 -2480
<< locali >>
rect 550 190 2320 200
rect 550 170 1190 190
rect 1210 170 1290 190
rect 1310 170 1390 190
rect 1410 170 1490 190
rect 1510 170 1590 190
rect 1610 170 1690 190
rect 1710 170 1790 190
rect 1810 170 1890 190
rect 1910 170 1990 190
rect 2010 170 2090 190
rect 2110 170 2190 190
rect 2210 170 2290 190
rect 2310 170 2320 190
rect 550 160 2320 170
rect 2725 160 3965 200
rect 550 -65 590 160
rect 610 130 900 140
rect 610 110 620 130
rect 890 110 900 130
rect 610 85 900 110
rect 610 65 620 85
rect 890 65 900 85
rect 610 55 900 65
rect 980 130 1070 140
rect 920 45 960 55
rect 920 25 930 45
rect 950 25 960 45
rect 920 15 960 25
rect 610 -15 960 -5
rect 610 -35 620 -15
rect 890 -35 960 -15
rect 610 -45 960 -35
rect 550 -85 560 -65
rect 580 -85 590 -65
rect 550 -165 590 -85
rect 610 -115 900 -105
rect 610 -135 620 -115
rect 890 -135 900 -115
rect 610 -145 900 -135
rect 550 -185 560 -165
rect 580 -185 590 -165
rect 550 -205 590 -185
rect 550 -215 900 -205
rect 550 -235 620 -215
rect 890 -235 900 -215
rect 550 -245 900 -235
rect 550 -265 590 -245
rect 550 -285 560 -265
rect 580 -285 590 -265
rect 550 -365 590 -285
rect 610 -315 900 -305
rect 610 -335 620 -315
rect 890 -335 900 -315
rect 610 -345 900 -335
rect 550 -385 560 -365
rect 580 -385 590 -365
rect 550 -465 590 -385
rect 920 -405 960 -45
rect 610 -415 960 -405
rect 610 -435 620 -415
rect 890 -435 960 -415
rect 610 -445 960 -435
rect 550 -485 560 -465
rect 580 -485 590 -465
rect 550 -565 590 -485
rect 610 -515 900 -505
rect 610 -535 620 -515
rect 890 -535 900 -515
rect 610 -545 900 -535
rect 550 -585 560 -565
rect 580 -585 590 -565
rect 550 -605 590 -585
rect 550 -615 900 -605
rect 550 -635 620 -615
rect 890 -635 900 -615
rect 550 -645 900 -635
rect 550 -665 590 -645
rect 550 -685 560 -665
rect 580 -685 590 -665
rect 550 -775 590 -685
rect 610 -715 900 -705
rect 610 -735 620 -715
rect 890 -735 900 -715
rect 610 -745 900 -735
rect 550 -795 560 -775
rect 580 -795 590 -775
rect 550 -805 590 -795
rect 920 -805 960 -445
rect 610 -815 960 -805
rect 610 -835 620 -815
rect 890 -835 960 -815
rect 610 -845 960 -835
rect 550 -865 590 -855
rect 550 -885 560 -865
rect 580 -885 590 -865
rect 550 -895 590 -885
rect 610 -915 900 -905
rect 610 -935 620 -915
rect 890 -935 900 -915
rect 610 -965 900 -935
rect 610 -985 620 -965
rect 890 -985 900 -965
rect 610 -995 900 -985
rect 920 -1200 960 -845
rect 980 -1040 990 130
rect 1010 -1040 1040 130
rect 1060 -1040 1070 130
rect 980 -1050 1070 -1040
rect 1130 130 1170 140
rect 1130 -1040 1140 130
rect 1160 -1040 1170 130
rect 1070 -1090 1110 -1080
rect 1070 -1110 1080 -1090
rect 1100 -1110 1110 -1090
rect 1070 -1120 1110 -1110
rect 800 -1240 960 -1200
rect 1130 -1200 1170 -1040
rect 1230 130 1270 140
rect 1230 -1040 1240 130
rect 1260 -1040 1270 130
rect 1230 -1050 1270 -1040
rect 1330 130 1370 140
rect 1330 -1040 1340 130
rect 1360 -1040 1370 130
rect 1330 -1050 1370 -1040
rect 1430 130 1470 140
rect 1430 -1040 1440 130
rect 1460 -1040 1470 130
rect 1430 -1050 1470 -1040
rect 1530 130 1570 140
rect 1530 -1040 1540 130
rect 1560 -1040 1570 130
rect 1530 -1050 1570 -1040
rect 1630 130 1670 140
rect 1630 -1040 1640 130
rect 1660 -1040 1670 130
rect 1630 -1050 1670 -1040
rect 1730 130 1770 140
rect 1730 -1040 1740 130
rect 1760 -1040 1770 130
rect 1730 -1200 1770 -1040
rect 1830 130 1870 140
rect 1830 -1040 1840 130
rect 1860 -1040 1870 130
rect 1830 -1050 1870 -1040
rect 1930 130 1970 140
rect 1930 -1040 1940 130
rect 1960 -1040 1970 130
rect 1930 -1050 1970 -1040
rect 2030 130 2070 140
rect 2030 -1040 2040 130
rect 2060 -1040 2070 130
rect 2030 -1050 2070 -1040
rect 2130 130 2170 140
rect 2130 -1040 2140 130
rect 2160 -1040 2170 130
rect 2130 -1050 2170 -1040
rect 2230 130 2270 140
rect 2230 -1040 2240 130
rect 2260 -1040 2270 130
rect 2230 -1050 2270 -1040
rect 2330 130 2370 140
rect 2330 -1040 2340 130
rect 2360 -1040 2370 130
rect 2330 -1200 2370 -1040
rect 2430 130 2515 140
rect 2430 -1040 2440 130
rect 2460 -1040 2485 130
rect 2505 -1040 2515 130
rect 2665 135 2705 145
rect 2665 115 2675 135
rect 2695 115 2705 135
rect 2665 105 2705 115
rect 2430 -1050 2515 -1040
rect 2580 65 2665 75
rect 2390 -1090 2430 -1080
rect 2390 -1110 2400 -1090
rect 2420 -1110 2430 -1090
rect 2390 -1120 2430 -1110
rect 2580 -1105 2590 65
rect 2610 -1105 2635 65
rect 2655 -1105 2665 65
rect 2580 -1115 2665 -1105
rect 2725 65 2765 160
rect 2725 -1105 2735 65
rect 2755 -1105 2765 65
rect 2725 -1135 2765 -1105
rect 2825 100 3865 140
rect 2825 65 2865 100
rect 2825 -1105 2835 65
rect 2855 -1105 2865 65
rect 2825 -1115 2865 -1105
rect 2925 65 2965 75
rect 2925 -1105 2935 65
rect 2955 -1105 2965 65
rect 2925 -1135 2965 -1105
rect 3025 65 3065 100
rect 3025 -1105 3035 65
rect 3055 -1105 3065 65
rect 3025 -1115 3065 -1105
rect 3125 65 3165 75
rect 3125 -1105 3135 65
rect 3155 -1105 3165 65
rect 3125 -1135 3165 -1105
rect 3225 65 3265 100
rect 3225 -1105 3235 65
rect 3255 -1105 3265 65
rect 3225 -1115 3265 -1105
rect 3325 65 3365 75
rect 3325 -1105 3335 65
rect 3355 -1105 3365 65
rect 3325 -1115 3365 -1105
rect 3425 65 3465 100
rect 3425 -1105 3435 65
rect 3455 -1105 3465 65
rect 3425 -1115 3465 -1105
rect 3525 65 3565 75
rect 3525 -1105 3535 65
rect 3555 -1105 3565 65
rect 3525 -1135 3565 -1105
rect 3625 65 3665 100
rect 3625 -1105 3635 65
rect 3655 -1105 3665 65
rect 3625 -1115 3665 -1105
rect 3725 65 3765 75
rect 3725 -1105 3735 65
rect 3755 -1105 3765 65
rect 3725 -1135 3765 -1105
rect 3825 65 3865 100
rect 3825 -1105 3835 65
rect 3855 -1105 3865 65
rect 3825 -1115 3865 -1105
rect 3925 65 3965 160
rect 3985 135 4025 145
rect 3985 115 3995 135
rect 4015 115 4025 135
rect 3985 105 4025 115
rect 3925 -1105 3935 65
rect 3955 -1105 3965 65
rect 3925 -1135 3965 -1105
rect 4025 65 4115 75
rect 4025 -1105 4035 65
rect 4055 -1105 4085 65
rect 4105 -1105 4115 65
rect 4025 -1115 4115 -1105
rect 2725 -1145 2815 -1135
rect 2725 -1165 2785 -1145
rect 2805 -1165 2815 -1145
rect 2725 -1175 2815 -1165
rect 2875 -1145 3815 -1135
rect 2875 -1165 2885 -1145
rect 2905 -1165 2985 -1145
rect 3005 -1165 3085 -1145
rect 3105 -1165 3185 -1145
rect 3205 -1165 3285 -1145
rect 3305 -1165 3385 -1145
rect 3405 -1165 3485 -1145
rect 3505 -1165 3585 -1145
rect 3605 -1165 3685 -1145
rect 3705 -1165 3785 -1145
rect 3805 -1165 3815 -1145
rect 2875 -1175 3815 -1165
rect 3875 -1145 3965 -1135
rect 3875 -1165 3885 -1145
rect 3905 -1165 3965 -1145
rect 3875 -1175 3965 -1165
rect 1130 -1210 1220 -1200
rect 1130 -1230 1190 -1210
rect 1210 -1230 1220 -1210
rect 1130 -1240 1220 -1230
rect 1280 -1210 2220 -1200
rect 1280 -1230 1290 -1210
rect 1310 -1230 1390 -1210
rect 1410 -1230 1490 -1210
rect 1510 -1230 1590 -1210
rect 1610 -1230 1690 -1210
rect 1710 -1230 1790 -1210
rect 1810 -1230 1890 -1210
rect 1910 -1230 1990 -1210
rect 2010 -1230 2090 -1210
rect 2110 -1230 2190 -1210
rect 2210 -1230 2220 -1210
rect 1280 -1240 2220 -1230
rect 2280 -1210 2370 -1200
rect 2280 -1230 2290 -1210
rect 2310 -1230 2370 -1210
rect 2665 -1200 2705 -1190
rect 2665 -1220 2675 -1200
rect 2695 -1220 2705 -1200
rect 2665 -1230 2705 -1220
rect 2280 -1240 2370 -1230
rect 800 -1270 840 -1240
rect 800 -2435 810 -1270
rect 830 -2435 840 -1270
rect 800 -2465 840 -2435
rect 900 -1270 940 -1260
rect 900 -2435 910 -1270
rect 930 -2435 940 -1270
rect 900 -2450 940 -2435
rect 980 -1270 1070 -1260
rect 980 -2440 990 -1270
rect 1010 -2440 1040 -1270
rect 1060 -2440 1070 -1270
rect 980 -2450 1070 -2440
rect 1130 -1270 1170 -1240
rect 1130 -2440 1140 -1270
rect 1160 -2440 1170 -1270
rect 800 -2475 885 -2465
rect 800 -2495 855 -2475
rect 875 -2495 885 -2475
rect 800 -2505 885 -2495
rect 1070 -2490 1110 -2480
rect 800 -2595 845 -2505
rect 1070 -2510 1080 -2490
rect 1100 -2510 1110 -2490
rect 1070 -2520 1110 -2510
rect 1130 -2535 1170 -2440
rect 1230 -1270 1270 -1260
rect 1230 -2440 1240 -1270
rect 1260 -2440 1270 -1270
rect 1230 -2475 1270 -2440
rect 1330 -1270 1370 -1240
rect 1330 -2440 1340 -1270
rect 1360 -2440 1370 -1270
rect 1330 -2450 1370 -2440
rect 1430 -1270 1470 -1260
rect 1430 -2440 1440 -1270
rect 1460 -2440 1470 -1270
rect 1430 -2475 1470 -2440
rect 1530 -1270 1570 -1240
rect 1530 -2440 1540 -1270
rect 1560 -2440 1570 -1270
rect 1530 -2450 1570 -2440
rect 1630 -1270 1670 -1260
rect 1630 -2440 1640 -1270
rect 1660 -2440 1670 -1270
rect 1630 -2475 1670 -2440
rect 1730 -1270 1770 -1260
rect 1730 -2440 1740 -1270
rect 1760 -2440 1770 -1270
rect 1730 -2450 1770 -2440
rect 1830 -1270 1870 -1260
rect 1830 -2440 1840 -1270
rect 1860 -2440 1870 -1270
rect 1830 -2475 1870 -2440
rect 1930 -1270 1970 -1240
rect 1930 -2440 1940 -1270
rect 1960 -2440 1970 -1270
rect 1930 -2450 1970 -2440
rect 2030 -1270 2070 -1260
rect 2030 -2440 2040 -1270
rect 2060 -2440 2070 -1270
rect 2030 -2475 2070 -2440
rect 2130 -1270 2170 -1240
rect 2130 -2440 2140 -1270
rect 2160 -2440 2170 -1270
rect 2130 -2450 2170 -2440
rect 2230 -1270 2270 -1260
rect 2230 -2440 2240 -1270
rect 2260 -2440 2270 -1270
rect 2230 -2475 2270 -2440
rect 1230 -2515 2270 -2475
rect 2330 -1270 2370 -1240
rect 2330 -2440 2340 -1270
rect 2360 -2440 2370 -1270
rect 2330 -2535 2370 -2440
rect 2430 -1270 2515 -1260
rect 2430 -2440 2440 -1270
rect 2460 -2440 2485 -1270
rect 2505 -2440 2515 -1270
rect 2430 -2450 2515 -2440
rect 2580 -1270 2665 -1260
rect 2580 -2440 2590 -1270
rect 2610 -2440 2635 -1270
rect 2655 -2440 2665 -1270
rect 2580 -2450 2665 -2440
rect 2725 -1270 2765 -1175
rect 2725 -2440 2735 -1270
rect 2755 -2440 2765 -1270
rect 2725 -2450 2765 -2440
rect 2825 -1270 2865 -1260
rect 2825 -2440 2835 -1270
rect 2855 -2440 2865 -1270
rect 2825 -2450 2865 -2440
rect 2925 -1270 2965 -1260
rect 2925 -2440 2935 -1270
rect 2955 -2440 2965 -1270
rect 2925 -2450 2965 -2440
rect 3025 -1270 3065 -1260
rect 3025 -2440 3035 -1270
rect 3055 -2440 3065 -1270
rect 3025 -2450 3065 -2440
rect 3125 -1270 3165 -1260
rect 3125 -2440 3135 -1270
rect 3155 -2440 3165 -1270
rect 3125 -2450 3165 -2440
rect 3225 -1270 3265 -1260
rect 3225 -2440 3235 -1270
rect 3255 -2440 3265 -1270
rect 3225 -2450 3265 -2440
rect 3325 -1270 3365 -1175
rect 3325 -2440 3335 -1270
rect 3355 -2440 3365 -1270
rect 3325 -2450 3365 -2440
rect 3425 -1270 3465 -1260
rect 3425 -2440 3435 -1270
rect 3455 -2440 3465 -1270
rect 3425 -2450 3465 -2440
rect 3525 -1270 3565 -1260
rect 3525 -2440 3535 -1270
rect 3555 -2440 3565 -1270
rect 3525 -2450 3565 -2440
rect 3625 -1270 3665 -1260
rect 3625 -2440 3635 -1270
rect 3655 -2440 3665 -1270
rect 3625 -2450 3665 -2440
rect 3725 -1270 3765 -1260
rect 3725 -2440 3735 -1270
rect 3755 -2440 3765 -1270
rect 3725 -2450 3765 -2440
rect 3825 -1270 3865 -1260
rect 3825 -2440 3835 -1270
rect 3855 -2440 3865 -1270
rect 3825 -2450 3865 -2440
rect 3925 -1270 3965 -1175
rect 3985 -1200 4025 -1190
rect 3985 -1220 3995 -1200
rect 4015 -1220 4025 -1200
rect 3985 -1230 4025 -1220
rect 3925 -2440 3935 -1270
rect 3955 -2440 3965 -1270
rect 3925 -2450 3965 -2440
rect 4025 -1270 4115 -1260
rect 4025 -2440 4035 -1270
rect 4055 -2440 4085 -1270
rect 4105 -2440 4115 -1270
rect 4025 -2450 4115 -2440
rect 2775 -2480 3915 -2470
rect 2390 -2490 2430 -2480
rect 2390 -2510 2400 -2490
rect 2420 -2510 2430 -2490
rect 2390 -2520 2430 -2510
rect 2775 -2500 2785 -2480
rect 2805 -2500 2885 -2480
rect 2905 -2500 2985 -2480
rect 3005 -2500 3085 -2480
rect 3105 -2500 3185 -2480
rect 3205 -2500 3285 -2480
rect 3305 -2500 3385 -2480
rect 3405 -2500 3485 -2480
rect 3505 -2500 3585 -2480
rect 3605 -2500 3685 -2480
rect 3705 -2500 3785 -2480
rect 3805 -2500 3885 -2480
rect 3905 -2500 3915 -2480
rect 2775 -2510 3915 -2500
rect 1130 -2575 2370 -2535
rect 2775 -2595 2820 -2510
rect 800 -2635 2820 -2595
<< viali >>
rect 620 110 890 130
rect 620 65 890 85
rect 930 25 950 45
rect 620 -135 890 -115
rect 620 -335 890 -315
rect 620 -535 890 -515
rect 620 -735 890 -715
rect 560 -885 580 -865
rect 620 -935 890 -915
rect 620 -985 890 -965
rect 990 -1040 1010 130
rect 1040 -1040 1060 130
rect 1080 -1110 1100 -1090
rect 1240 -1040 1260 130
rect 2240 -1040 2260 130
rect 2440 -1040 2460 130
rect 2485 -1040 2505 130
rect 2675 115 2695 135
rect 2400 -1110 2420 -1090
rect 2590 -1105 2610 65
rect 2635 -1105 2655 65
rect 3335 -1105 3355 65
rect 3995 115 4015 135
rect 4035 -1105 4055 65
rect 4085 -1105 4105 65
rect 2675 -1220 2695 -1200
rect 910 -2435 930 -1270
rect 990 -2440 1010 -1270
rect 1040 -2440 1060 -1270
rect 1080 -2510 1100 -2490
rect 1740 -2440 1760 -1270
rect 2440 -2440 2460 -1270
rect 2485 -2440 2505 -1270
rect 2590 -2440 2610 -1270
rect 2635 -2440 2655 -1270
rect 2835 -2440 2855 -1270
rect 3835 -2440 3855 -1270
rect 3995 -1220 4015 -1200
rect 4035 -2440 4055 -1270
rect 4085 -2440 4105 -1270
rect 2400 -2510 2420 -2490
<< metal1 >>
rect 610 130 2515 140
rect 610 110 620 130
rect 890 110 990 130
rect 610 85 990 110
rect 610 65 620 85
rect 890 65 990 85
rect 610 45 990 65
rect 610 25 930 45
rect 950 25 990 45
rect 610 -115 990 25
rect 610 -135 620 -115
rect 890 -135 990 -115
rect 610 -315 990 -135
rect 610 -335 620 -315
rect 890 -335 990 -315
rect 610 -515 990 -335
rect 610 -535 620 -515
rect 890 -535 990 -515
rect 610 -715 990 -535
rect 610 -735 620 -715
rect 890 -735 990 -715
rect 610 -855 990 -735
rect 550 -865 990 -855
rect 550 -885 560 -865
rect 580 -885 990 -865
rect 550 -895 990 -885
rect 610 -915 990 -895
rect 610 -935 620 -915
rect 890 -935 990 -915
rect 610 -965 990 -935
rect 610 -985 620 -965
rect 890 -985 990 -965
rect 610 -995 990 -985
rect 980 -1040 990 -995
rect 1010 -1040 1040 130
rect 1060 -1040 1240 130
rect 1260 -1040 2240 130
rect 2260 -1040 2440 130
rect 2460 -1040 2485 130
rect 2505 75 2515 130
rect 2665 135 2720 145
rect 2665 115 2675 135
rect 2695 115 2720 135
rect 2665 105 2720 115
rect 2670 75 2720 105
rect 3970 135 4025 145
rect 3970 115 3995 135
rect 4015 115 4025 135
rect 3970 105 4025 115
rect 3970 75 4020 105
rect 2505 65 4115 75
rect 2505 -1040 2590 65
rect 980 -1050 2590 -1040
rect 1075 -1080 1125 -1050
rect 1070 -1090 1125 -1080
rect 1070 -1110 1080 -1090
rect 1100 -1110 1125 -1090
rect 1070 -1120 1125 -1110
rect 2375 -1080 2425 -1050
rect 2375 -1090 2430 -1080
rect 2375 -1110 2400 -1090
rect 2420 -1110 2430 -1090
rect 2375 -1120 2430 -1110
rect 2580 -1105 2590 -1050
rect 2610 -1105 2635 65
rect 2655 -1105 3335 65
rect 3355 -1105 4035 65
rect 4055 -1105 4085 65
rect 4105 -1105 4115 65
rect 2580 -1115 4115 -1105
rect 2665 -1200 2720 -1190
rect 2665 -1220 2675 -1200
rect 2695 -1220 2720 -1200
rect 2665 -1230 2720 -1220
rect 2670 -1260 2720 -1230
rect 3970 -1200 4025 -1190
rect 3970 -1220 3995 -1200
rect 4015 -1220 4025 -1200
rect 3970 -1230 4025 -1220
rect 3970 -1260 4020 -1230
rect 900 -1270 4115 -1260
rect 900 -2435 910 -1270
rect 930 -2435 990 -1270
rect 900 -2440 990 -2435
rect 1010 -2440 1040 -1270
rect 1060 -2440 1740 -1270
rect 1760 -2440 2440 -1270
rect 2460 -2440 2485 -1270
rect 2505 -2440 2590 -1270
rect 2610 -2440 2635 -1270
rect 2655 -2440 2835 -1270
rect 2855 -2440 3835 -1270
rect 3855 -2440 4035 -1270
rect 4055 -2440 4085 -1270
rect 4105 -2440 4115 -1270
rect 900 -2445 4115 -2440
rect 980 -2450 4115 -2445
rect 1075 -2480 1125 -2450
rect 1070 -2490 1125 -2480
rect 1070 -2510 1080 -2490
rect 1100 -2510 1125 -2490
rect 1070 -2520 1125 -2510
rect 2375 -2480 2425 -2450
rect 2375 -2490 2430 -2480
rect 2375 -2510 2400 -2490
rect 2420 -2510 2430 -2490
rect 2375 -2520 2430 -2510
<< labels >>
rlabel locali 550 -785 550 -785 7 VBP
port 3 w
rlabel metal1 610 120 610 120 7 VP
port 1 w
rlabel locali 3965 -1230 3965 -1230 3 VCP
port 6 e
rlabel metal1 920 -1260 920 -1260 1 VN
port 2 n
rlabel locali 800 -2485 800 -2485 7 VBN
port 4 w
rlabel locali 1130 -2555 1130 -2555 7 VCN
port 5 w
<< end >>
